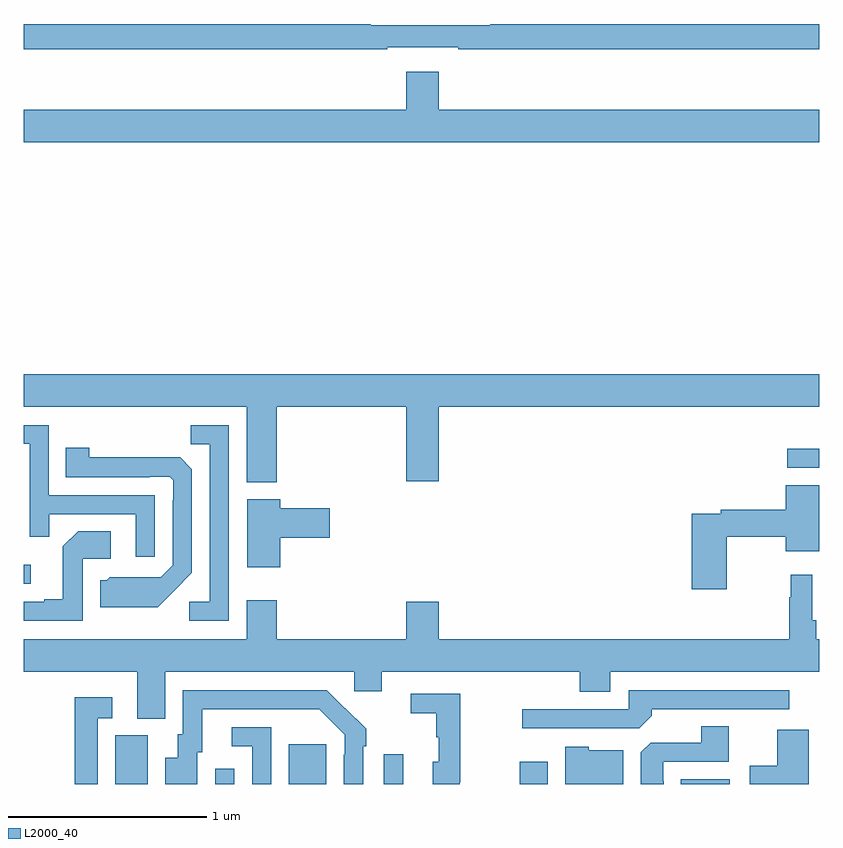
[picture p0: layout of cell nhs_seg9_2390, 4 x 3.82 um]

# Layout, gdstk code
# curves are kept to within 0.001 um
import gdstk
lib = gdstk.Library(unit=1e-6, precision=1e-09)
def R(c, l, rs):  # rectangles x0, y0, x1, y1
    for r in rs: c.add(gdstk.rectangle(r[:2], r[2:], *l))
def P(c, l, *ps):  # polygons
    for p in ps: c.add(gdstk.Polygon(p, *l))
L2000_40 = (2000, 40)

nhs_seg9_2390 = lib.new_cell('nhs_seg9_2390')
R(nhs_seg9_2390, L2000_40, [(247.46,1218.5,247.624,1218.744), (247.962,1218.5,248.058,1218.577), (248.333,1218.5,248.521,1218.7), (248.811,1218.5,248.907,1218.649), (249.493,1218.5,249.634,1218.613), (250.304,1218.5,250.549,1218.523), (247,1219.506,247.036,1219.603), (250.839,1220.091,251,1220.187)])
P(nhs_seg9_2390, L2000_40, [(248.828,1222.206),(249.184,1222.206),(249.184,1222.194),(251,1222.194),(251,1222.322),(249.345,1222.322),(249.345,1222.315),(248.745,1222.315),(248.745,1222.322),(247,1222.322),(247,1222.194),(248.828,1222.194)],
  [(251,1221.892),(249.088,1221.892),(249.088,1222.081),(248.924,1222.081),(248.924,1221.892),(247,1221.892),(247,1221.728),(251,1221.728)],
  [(248.273,1220.396),(248.924,1220.396),(248.924,1220.022),(249.088,1220.022),(249.088,1220.396),(251,1220.396),(251,1220.56),(247,1220.56),(247,1220.396),(248.12,1220.396),(248.12,1220.018),(248.273,1220.018)],
  [(247.659,1219.953),(247.125,1219.953),(247.125,1220.304),(247,1220.304),(247,1220.211),(247.029,1220.211),(247.029,1219.744),(247.127,1219.744),(247.127,1219.857),(247.563,1219.857),(247.563,1219.644),(247.659,1219.644)],
  [(248.031,1220.304),(247.84,1220.304),(247.84,1220.209),(247.935,1220.209),(247.935,1219.416),(247.833,1219.416),(247.833,1219.32),(248.031,1219.32)],
  [(247.753,1219.469),(247.845,1219.562),(247.845,1220.084),(247.786,1220.143),(247.329,1220.144),(247.329,1220.191),(247.21,1220.191),(247.21,1220.043),(247.634,1220.043),(247.634,1220.046),(247.734,1220.046),(247.752,1220.028),(247.752,1219.928),(247.749,1219.928),(247.749,1219.599),(247.689,1219.539),(247.432,1219.54),(247.416,1219.524),(247.385,1219.524),(247.385,1219.388),(247.673,1219.388)],
  [(250.536,1219.744),(250.832,1219.744),(250.832,1219.67),(251,1219.67),(251,1220.002),(250.832,1220.002),(250.832,1219.88),(250.504,1219.88),(250.504,1219.86),(250.358,1219.86),(250.358,1219.479),(250.536,1219.479)],
  [(248.29,1219.739),(248.539,1219.739),(248.539,1219.886),(248.29,1219.886),(248.29,1219.933),(248.123,1219.933),(248.123,1219.59),(248.29,1219.59)],
  [(247.296,1219.632),(247.438,1219.632),(247.438,1219.772),(247.273,1219.772),(247.197,1219.696),(247.197,1219.429),(247.103,1219.429),(247.103,1219.416),(247,1219.416),(247,1219.32),(247.296,1219.32)],
  [(247.711,1219.064),(248.661,1219.064),(248.661,1218.966),(248.8,1218.966),(248.8,1219.064),(249.797,1219.064),(249.797,1218.965),(249.949,1218.965),(249.949,1219.064),(251,1219.064),(251,1219.228),(250.985,1219.228),(250.985,1219.324),(250.965,1219.324),(250.965,1219.552),(250.857,1219.552),(250.857,1219.439),(250.849,1219.439),(250.849,1219.228),(249.088,1219.228),(249.088,1219.417),(248.924,1219.417),(248.924,1219.228),(248.273,1219.228),(248.273,1219.423),(248.12,1219.423),(248.12,1219.228),(247,1219.228),(247,1219.064),(247.571,1219.064),(247.571,1218.829),(247.711,1218.829)],
  [(250.157,1218.842),(250.157,1218.876),(250.849,1218.876),(250.849,1218.972),(250.041,1218.972),(250.041,1218.876),(249.507,1218.876),(249.507,1218.78),(250.095,1218.78)],
  [(247.873,1218.66),(247.897,1218.66),(247.897,1218.876),(248.485,1218.876),(248.613,1218.747),(248.613,1218.647),(248.61,1218.647),(248.61,1218.5),(248.706,1218.5),(248.706,1218.689),(248.721,1218.689),(248.721,1218.777),(248.524,1218.972),(247.8,1218.972),(247.8,1218.75),(247.775,1218.75),(247.775,1218.631),(247.712,1218.631),(247.712,1218.5),(247.873,1218.5)],
  [(249.192,1218.509),(249.196,1218.509),(249.196,1218.954),(248.946,1218.954),(248.946,1218.856),(249.075,1218.856),(249.075,1218.735),(249.086,1218.735),(249.086,1218.613),(249.056,1218.613),(249.056,1218.5),(249.192,1218.5)],
  [(247.371,1218.831),(247.444,1218.831),(247.444,1218.937),(247.255,1218.937),(247.255,1218.5),(247.371,1218.5)],
  [(250.219,1218.515),(250.215,1218.515),(250.215,1218.612),(250.546,1218.612),(250.546,1218.791),(250.406,1218.791),(250.406,1218.708),(250.152,1218.708),(250.103,1218.659),(250.103,1218.5),(250.219,1218.5)],
  [(248.244,1218.786),(248.046,1218.786),(248.046,1218.69),(248.148,1218.69),(248.148,1218.5),(248.244,1218.5)],
  [(250.948,1218.772),(250.79,1218.772),(250.79,1218.592),(250.65,1218.592),(250.65,1218.5),(250.948,1218.5)],
  [(250.015,1218.67),(249.84,1218.67),(249.84,1218.688),(249.722,1218.688),(249.722,1218.5),(250.015,1218.5)])

lib.write_gds('nhs_seg9_2390.gds')
